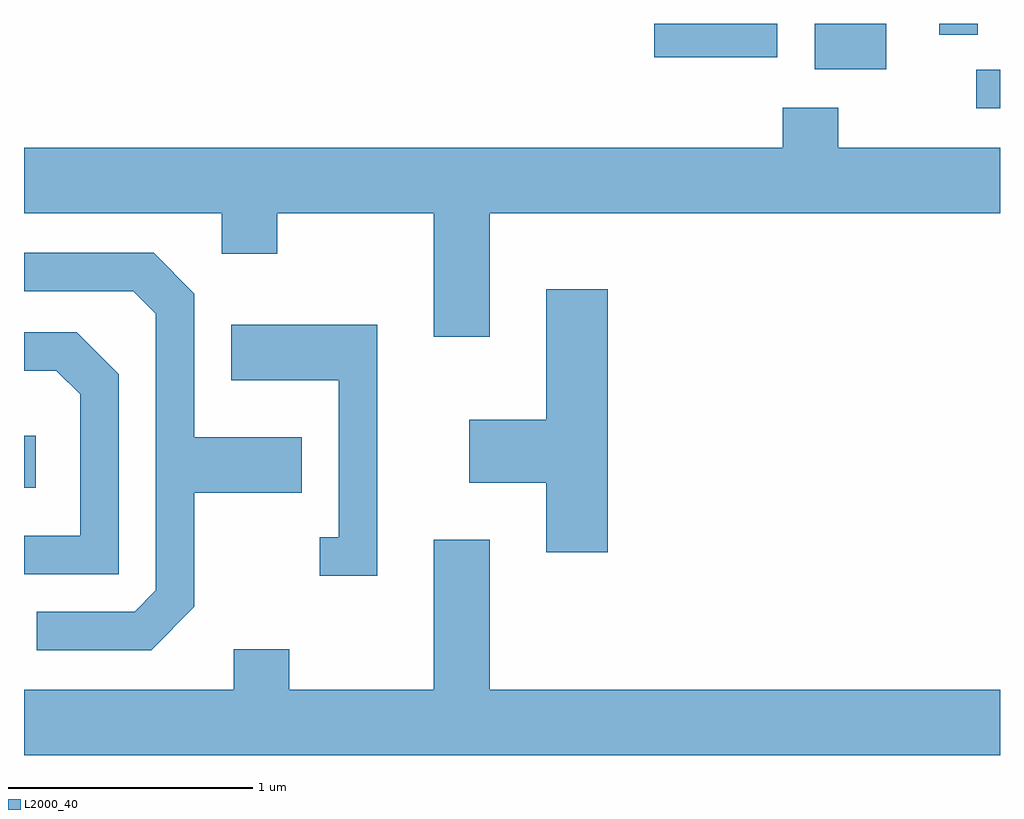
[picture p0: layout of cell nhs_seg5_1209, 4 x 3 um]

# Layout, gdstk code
import gdstk
lib = gdstk.Library(unit=1e-6, precision=1e-09)
def R(c, l, rs):  # rectangles x0, y0, x1, y1
    for r in rs: c.add(gdstk.rectangle(r[:2], r[2:], *l))
def P(c, l, *ps):  # polygons
    for p in ps: c.add(gdstk.Polygon(p, *l))
L2000_40 = (2000, 40)

nhs_seg5_1209 = lib.new_cell('nhs_seg5_1209')
R(nhs_seg5_1209, L2000_40, [(221.611,1400.171,221.659,1400.384), (225.513,1401.726,225.611,1401.884), (224.851,1401.886,225.144,1402.072), (224.193,1401.936,224.699,1402.072), (225.361,1402.028,225.519,1402.072)])
P(nhs_seg5_1209, L2000_40, [(223.519,1401.296),(225.611,1401.296),(225.611,1401.564),(224.949,1401.564),(224.949,1401.729),(224.721,1401.729),(224.721,1401.564),(221.611,1401.564),(221.611,1401.296),(222.421,1401.296),(222.421,1401.131),(222.649,1401.131),(222.649,1401.296),(223.291,1401.296),(223.291,1400.791),(223.519,1400.791)],
  [(222.309,1399.684),(222.309,1400.151),(222.749,1400.151),(222.749,1400.379),(222.309,1400.379),(222.309,1400.967),(222.142,1401.134),(221.613,1401.134),(221.613,1400.976),(222.059,1400.976),(222.151,1400.884),(222.151,1399.752),(222.064,1399.664),(221.663,1399.664),(221.663,1399.506),(222.132,1399.506)],
  [(224.004,1400.984),(223.751,1400.984),(223.751,1400.449),(223.436,1400.449),(223.436,1400.191),(223.751,1400.191),(223.751,1399.906),(224.004,1399.906)],
  [(223.059,1400.839),(222.461,1400.839),(222.461,1400.611),(222.901,1400.611),(222.901,1399.969),(222.823,1399.969),(222.823,1399.811),(223.059,1399.811)],
  [(221.999,1400.637),(221.827,1400.809),(221.611,1400.809),(221.611,1400.651),(221.744,1400.651),(221.841,1400.554),(221.841,1399.974),(221.611,1399.974),(221.611,1399.816),(221.999,1399.816)],
  [(225.611,1399.344),(223.519,1399.344),(223.519,1399.959),(223.291,1399.959),(223.291,1399.344),(222.699,1399.344),(222.699,1399.509),(222.471,1399.509),(222.471,1399.344),(221.611,1399.344),(221.611,1399.076),(225.611,1399.076)])

lib.write_gds('nhs_seg5_1209.gds')
